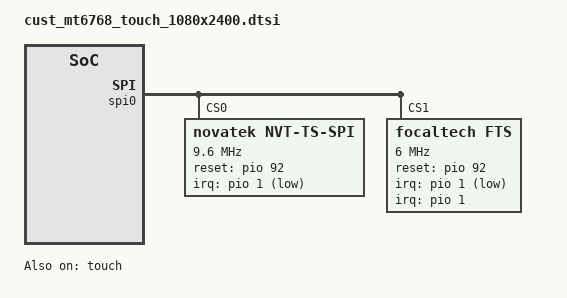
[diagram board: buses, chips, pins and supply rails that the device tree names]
// SPDX-License-Identifier: GPL-2.0
/*
 * Copyright (c) 2021 Xiaomi Corporation
 * Copyright (c) 2019 MediaTek Inc.
 *
 * Touchscreen configuration for 1080x2400 panels on Xiaomi Selene (MT6768).
 */

&touch {
	tpd-resolution = <1080 2400>;
	use-tpd-button = <0>;
	tpd-key-num = <3>;
	tpd-key-local = <139 172 158 0>;
	tpd-key-dim-local = <90 883 100 40 230
				883 100 40 370 883 100 40 0 0 0 0>;
	tpd-max-touch-num = <10>;
	tpd-filter-enable = <0>;
	tpd-filter-pixel-density = <168>;
	tpd-filter-custom-prameters = <0 0 0 0 0 0 0 0 0 0 0 0>;
	tpd-filter-custom-speed = <0 0 0>;
	pinctrl-names = "default", "state_eint_as_int",
		"state_eint_output0", "state_eint_output1",
		"state_rst_output0", "state_rst_output1";
	pinctrl-0 = <&ctp_pins_default>;
	pinctrl-1 = <&ctp_pins_eint_as_int>;
	pinctrl-2 = <&ctp_pins_eint_output0>;
	pinctrl-3 = <&ctp_pins_eint_output1>;
	pinctrl-4 = <&ctp_pins_rst_output0>;
	pinctrl-5 = <&ctp_pins_rst_output1>;
	status = "okay";
};

&pio {
	ctp_pins_default: eint0default {
	};
	ctp_ts_pins_default: eint1default {
	};
	ctp_pins_eint_as_int: eint@0 {
		pins_cmd_dat {
			pinmux = <PINMUX_GPIO1__FUNC_GPIO1>;
			slew-rate = <0>;
			bias-disable;
		};
	};
	ctp_pins_eint_output0: eintoutput0 {
		pins_cmd_dat {
			pinmux = <PINMUX_GPIO1__FUNC_GPIO1>;
			slew-rate = <1>;
			output-low;
		};
	};
	ctp_pins_eint_output1: eintoutput1 {
		pins_cmd_dat {
			pinmux = <PINMUX_GPIO1__FUNC_GPIO1>;
			slew-rate = <1>;
			output-high;
		};
	};
	ctp_pins_rst_output0: rstoutput0 {
		pins_cmd_dat {
			pinmux = <PINMUX_GPIO92__FUNC_GPIO92>;
			slew-rate = <1>;
			output-low;
		};
	};
	ctp_pins_rst_output1: rstoutput1 {
		pins_cmd_dat {
			pinmux = <PINMUX_GPIO92__FUNC_GPIO92>;
			slew-rate = <1>;
			output-high;
		};
	};
};

&spi0 {
	status = "okay";
	#address-cells = <1>;
	#size-cells = <0>;
	mediatek,pad-select = <0>, <1>;

	novatek@0 {
		compatible = "novatek,NVT-ts-spi";
		reg = <0>;
		status = "okay";
		spi-max-frequency = <9600000>;
		novatek,reset-gpio = <&pio 92 0x00>;
		novatek,irq-gpio = <&pio 1 0x2001>;
		novatek,swrst-n8-addr = <0x03F0FE>;
		novatek,spi-rd-fast-addr = <0x03F310>;
	};

	focaltech@1 {
		compatible = "focaltech,fts";
		reg = <1>;
		status = "okay";
		spi-max-frequency = <6000000>;
		interrupt-parent = <&pio>;
		interrupts = <1 0x2>;
		focaltech,reset-gpio = <&pio 92 0x00>;
		focaltech,irq-gpio = <&pio 1 0x2001>;
		focaltech,max-touch-number = <10>;
		focaltech,display-coords = <0 0 1080 2400>;
	};
};
